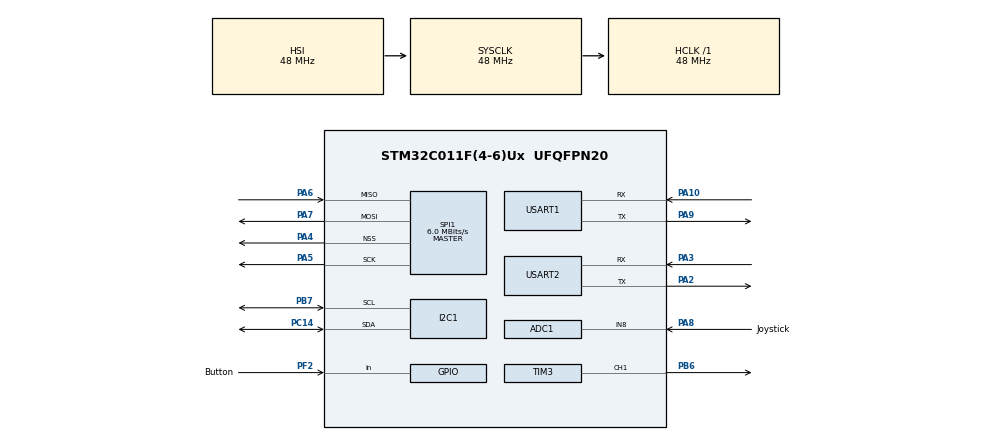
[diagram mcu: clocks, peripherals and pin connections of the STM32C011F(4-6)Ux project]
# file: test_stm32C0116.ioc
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ADC1.NbrOfConversionFlag=0
ADC1.SelectedChannel=ADC_CHANNEL_8
ADC1.master=1
I2C1.Timing=0x10805D88
Mcu.Family=STM32C0
Mcu.Name=STM32C011F(4-6)Ux
Mcu.Package=UFQFPN20
PA10\ [PA12].Mode=Asynchronous
PA10\ [PA12].Signal=USART1_RX
PA13.Mode=Serial_Wire
PA13.Signal=DEBUG_SWDIO
PA14-BOOT0.Mode=Serial_Wire
PA14-BOOT0.Signal=DEBUG_SWCLK
PA2.Mode=Asynchronous
PA2.Signal=USART2_TX
PA3.Mode=Asynchronous
PA3.Signal=USART2_RX
PA4.Mode=NSS_Signal_Hard_Output
PA4.Signal=SPI1_NSS
PA5.Mode=Full_Duplex_Master
PA5.Signal=SPI1_SCK
PA6.Mode=Full_Duplex_Master
PA6.Signal=SPI1_MISO
PA7.Mode=Full_Duplex_Master
PA7.Signal=SPI1_MOSI
PA8.GPIO_Label=Joystick
PA8.Mode=IN8
PA8.Signal=ADC1_IN8
PA9\ [PA11].Mode=Asynchronous
PA9\ [PA11].Signal=USART1_TX
PB6.Signal=S_TIM3_CH1
PB7.Mode=I2C
PB7.Signal=I2C1_SCL
PC14-OSCX_IN\ (PC14).Mode=I2C
PC14-OSCX_IN\ (PC14).Signal=I2C1_SDA
PF2-NRST.GPIO_Label=Button
PF2-NRST.Signal=GPIO_Input
ProjectManager.HeapSize=0x200
ProjectManager.StackSize=0x400
ProjectManager.TargetToolchain=STM32CubeIDE
RCC.ADCFreq_Value=48000000
RCC.AHBFreq_Value=48000000
RCC.CortexFreq_Value=48000000
RCC.EXTERNAL_CLOCK_VALUE=12288000
RCC.HCLKFreq_Value=48000000
RCC.HSE_VALUE=8000000
RCC.HSISYSCLKDivider=RCC_HSI_DIV1
RCC.HSI_VALUE=48000000
RCC.LSE_VALUE=32768
RCC.SYSCLKFreq_VALUE=48000000
SH.S_TIM3_CH1.0=TIM3_CH1,PWM Generation1 CH1
SPI1.BaudRatePrescaler=SPI_BAUDRATEPRESCALER_8
SPI1.CalculateBaudRate=6.0 MBits/s
SPI1.Direction=SPI_DIRECTION_2LINES
SPI1.Mode=SPI_MODE_MASTER
SPI1.VirtualNSS=VM_NSSHARD
SPI1.VirtualType=VM_MASTER
TIM3.Channel-PWM\ Generation1\ CH1=TIM_CHANNEL_1
USART1.VirtualMode-Asynchronous=VM_ASYNC
USART2.VirtualMode-Asynchronous=VM_ASYNC
VP_SYS_VS_PINREMAP.Mode=PINREMAP
VP_SYS_VS_PINREMAP_10_12.Mode=PINREMAP_10_12
board=STM32C0116-DK

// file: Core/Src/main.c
/* USER CODE BEGIN Header */
/**
  ******************************************************************************
  * @file           : main.c
  * @brief          : Main program body
  ******************************************************************************
  * @attention
  *
  * Copyright (c) 2026 STMicroelectronics.
  * All rights reserved.
  *
  * This software is licensed under terms that can be found in the LICENSE file
  * in the root directory of this software component.
  * If no LICENSE file comes with this software, it is provided AS-IS.
  *
  ******************************************************************************
  */
/* USER CODE END Header */
#include "main.h"
#include "adc.h"
#include "i2c.h"
#include "spi.h"
#include "usart.h"
#include "gpio.h"

/* USER CODE BEGIN Includes */
#include "stm32c0xx_hal.h"
#include "stm32c0xx_hal_i2c.h"
#include "stm32c0xx_hal_i2c_ex.h"
#include "tim.h"

#include "stdio.h"

#include "MLX90614.h"

/* USER CODE END Includes */

void SystemClock_Config(void);
/* USER CODE BEGIN PFP */
void I2C_Scanner(void);
void Set_PWM_From_Analog(uint32_t adc_value);
void Set_LED_From_Analog(uint32_t adc_value);

/* USER CODE END PFP */

/* USER CODE BEGIN 0 */

// Retarget printf to UART
int _write(int file, char *ptr, int len) {
    HAL_UART_Transmit(&huart1, (uint8_t*)ptr, len, HAL_MAX_DELAY);
    return len;
}

/* USER CODE END 0 */

int main(void)
{

  /* MCU Configuration--------------------------------------------------------*/

  /* Reset of all peripherals, Initializes the Flash interface and the Systick. */
  HAL_Init();

  /* USER CODE BEGIN Init */

  float obj_temp, amb_temp;

  MLX90614_Init(&hi2c1);  // Initialize sensor

  /* USER CODE END Init */

  /* Configure the system clock */
  SystemClock_Config();

  /* Initialize all configured peripherals */
  MX_GPIO_Init();
  MX_ADC1_Init();
  MX_SPI1_Init();
  MX_USART1_UART_Init();
  MX_USART2_UART_Init();
  MX_I2C1_Init();
  /* USER CODE BEGIN 2 */
  MX_TIM3_Init();								// why not autogenerated by cubemx ???
  HAL_TIM_PWM_Start(&htim3,TIM_CHANNEL_1);
  /* USER CODE END 2 */

  /* Infinite loop */
  while (1)
  {

    /* USER CODE BEGIN 3 */

	// ADC RELATED //
	HAL_ADC_Start(&hadc1);                     // Start conversion
	HAL_ADC_PollForConversion(&hadc1, 10);     // Wait until done
	uint32_t adc_value = HAL_ADC_GetValue(&hadc1);      // Read value
	printf("ADC: %lu\r\n", adc_value);
	HAL_Delay(100);

//	// I2C RELATED //
////	printf("Performing i2c scan:\r\n");
//	I2C_Scanner();
////	printf("Done\r\n");
//	HAL_Delay(100);

	// PWM RELATED //
	Set_PWM_From_Analog(adc_value);

	// MLX90614 RELATED //
//    obj_temp = MLX90614_GetTemp(&hi2c1, 0);  // Read Object 1 temp (°C)
//    amb_temp = MLX90614_GetTemp(&hi2c1, 1);  // Read Ambient temp (°C)

    obj_temp = MLX90614_GetTemp(&hi2c1, 0);
    int obj_temp_int = (int)(obj_temp * 100);  // e.g., 25.50°C → 2550
    printf("Temperature: %d.%02d°C\r\n", obj_temp_int / 100, obj_temp_int % 100);

//    printf("Object Temp: %.2f°C, Ambient Temp: %.2f°C\r\n", obj_temp, amb_temp);
    HAL_Delay(1000);  // Read every 1 second

  }
  /* USER CODE END 3 */
}

void SystemClock_Config(void)
{
  RCC_OscInitTypeDef RCC_OscInitStruct = {0};
  RCC_ClkInitTypeDef RCC_ClkInitStruct = {0};

  __HAL_FLASH_SET_LATENCY(FLASH_LATENCY_1);

  /** Initializes the RCC Oscillators according to the specified parameters
  * in the RCC_OscInitTypeDef structure.
  */
  RCC_OscInitStruct.OscillatorType = RCC_OSCILLATORTYPE_HSI;
  RCC_OscInitStruct.HSIState = RCC_HSI_ON;
  RCC_OscInitStruct.HSIDiv = RCC_HSI_DIV1;
  RCC_OscInitStruct.HSICalibrationValue = RCC_HSICALIBRATION_DEFAULT;
  if (HAL_RCC_OscConfig(&RCC_OscInitStruct) != HAL_OK)
  {
    Error_Handler();
  }

  /** Initializes the CPU, AHB and APB buses clocks
  */
  RCC_ClkInitStruct.ClockType = RCC_CLOCKTYPE_HCLK|RCC_CLOCKTYPE_SYSCLK
                              |RCC_CLOCKTYPE_PCLK1;
  RCC_ClkInitStruct.SYSCLKSource = RCC_SYSCLKSOURCE_HSI;
  RCC_ClkInitStruct.SYSCLKDivider = RCC_SYSCLK_DIV1;
  RCC_ClkInitStruct.AHBCLKDivider = RCC_HCLK_DIV1;
  RCC_ClkInitStruct.APB1CLKDivider = RCC_APB1_DIV1;

  if (HAL_RCC_ClockConfig(&RCC_ClkInitStruct, FLASH_LATENCY_1) != HAL_OK)
  {
    Error_Handler();
  }
}

/* USER CODE BEGIN 4 */

// Replace with your I2C handle (e.g., hi2c1)
//extern I2C_HandleTypeDef hi2c1;

#define I2C_TIMEOUT 100 // Timeout in ms

void I2C_Scanner(void) {
    HAL_StatusTypeDef status;
    uint8_t address = 0;
    uint8_t data = 0;

    printf("Scanning I2C bus for devices...\r\n");

    for (address = 1; address < 127; address++) {
        status = HAL_I2C_Master_Transmit(&hi2c1, (address << 1), &data, 1, I2C_TIMEOUT);
        if (status == HAL_OK) {
//        	char msg1[] = "Found device at address: 0x%02X\r\n";
//			HAL_UART_Transmit(&huart1, (uint8_t*)msg1, sizeof(msg1)-1, HAL_MAX_DELAY);

			printf("Found device at address: 0x%02X\r\n", address);
        }
        HAL_Delay(10); // Small delay between scans
    }
    printf("Scan complete.\r\n");
}

// Function to map ADC value (0-4095) to PWM duty cycle (0-100%)
void Set_PWM_From_Analog(uint32_t adc_value) {
    // Map ADC value (0-4095) to PWM pulse (0-TIM_ARR)
    uint32_t pwm_pulse = (adc_value * htim3.Instance->ARR) / 4095;

    // Update PWM duty cycle
    __HAL_TIM_SET_COMPARE(&htim3, TIM_CHANNEL_1, pwm_pulse);
}

void Set_LED_From_Analog(uint32_t adc_value){
		// GPIO RELATED //
		if(adc_value < 1000)
		{
			HAL_GPIO_WritePin(GPIOB, GPIO_PIN_6, GPIO_PIN_SET);
	//		HAL_GPIO_WritePin(LED_GPIO_Port, LED_Pin, GPIO_PIN_SET);
			HAL_Delay(500);
			HAL_GPIO_WritePin(GPIOB, GPIO_PIN_6, GPIO_PIN_RESET);
	//		HAL_GPIO_WritePin(LED_GPIO_Port, LED_Pin, GPIO_PIN_RESET);
			HAL_Delay(500);
		}
}

/* USER CODE END 4 */

void Error_Handler(void)
{
  __disable_irq();
  while (1)
  {
  }
}
